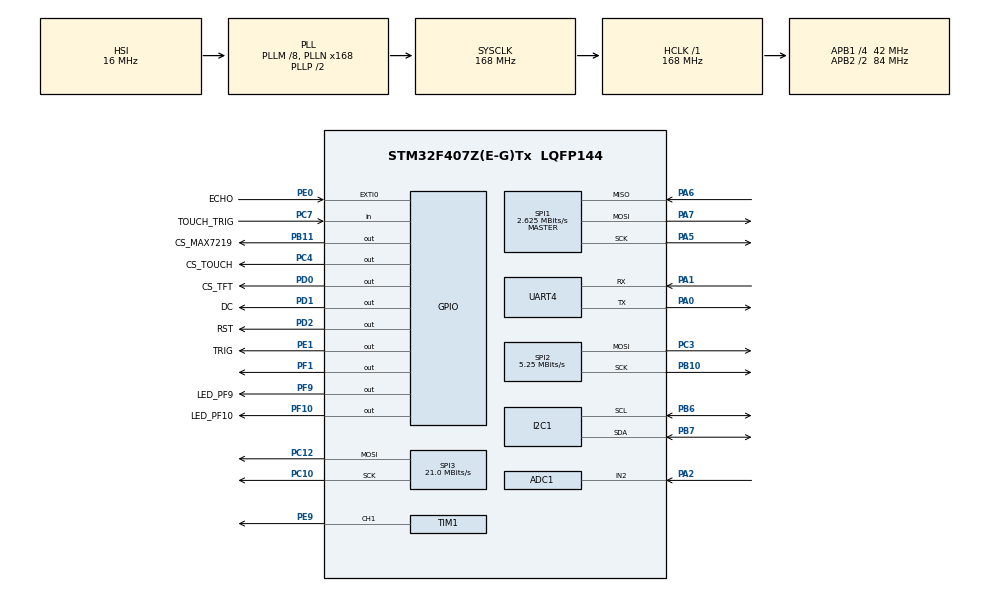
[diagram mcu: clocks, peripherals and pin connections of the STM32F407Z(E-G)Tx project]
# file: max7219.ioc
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ADC1.Channel-2\#ChannelRegularConversion=ADC_CHANNEL_2
ADC1.NbrOfConversionFlag=1
ADC1.Rank-2\#ChannelRegularConversion=1
ADC1.SamplingTime-2\#ChannelRegularConversion=ADC_SAMPLETIME_144CYCLES
ADC1.master=1
Dma.Request0=SPI3_TX
Dma.Request1=TIM1_CH1
Dma.SPI3_TX.0.Direction=DMA_MEMORY_TO_PERIPH
Dma.SPI3_TX.0.FIFOMode=DMA_FIFOMODE_DISABLE
Dma.SPI3_TX.0.Instance=DMA1_Stream5
Dma.SPI3_TX.0.MemDataAlignment=DMA_MDATAALIGN_BYTE
Dma.SPI3_TX.0.MemInc=DMA_MINC_ENABLE
Dma.SPI3_TX.0.Mode=DMA_CIRCULAR
Dma.SPI3_TX.0.PeriphDataAlignment=DMA_PDATAALIGN_BYTE
Dma.SPI3_TX.0.PeriphInc=DMA_PINC_DISABLE
Dma.SPI3_TX.0.Priority=DMA_PRIORITY_LOW
Dma.TIM1_CH1.1.Direction=DMA_MEMORY_TO_PERIPH
Dma.TIM1_CH1.1.FIFOMode=DMA_FIFOMODE_DISABLE
Dma.TIM1_CH1.1.Instance=DMA2_Stream1
Dma.TIM1_CH1.1.MemDataAlignment=DMA_MDATAALIGN_HALFWORD
Dma.TIM1_CH1.1.MemInc=DMA_MINC_ENABLE
Dma.TIM1_CH1.1.Mode=DMA_NORMAL
Dma.TIM1_CH1.1.PeriphDataAlignment=DMA_PDATAALIGN_HALFWORD
Dma.TIM1_CH1.1.PeriphInc=DMA_PINC_DISABLE
Dma.TIM1_CH1.1.Priority=DMA_PRIORITY_HIGH
Mcu.Family=STM32F4
Mcu.Name=STM32F407Z(E-G)Tx
Mcu.Package=LQFP144
NVIC.ADC_IRQn=true\:0\:0\:false\:false\:true\:true\:true
NVIC.DMA1_Stream5_IRQn=true\:0\:0\:false\:false\:true\:false\:true
NVIC.DMA2_Stream1_IRQn=true\:0\:0\:false\:false\:true\:false\:true
NVIC.EXTI0_IRQn=true\:0\:0\:false\:false\:true\:true\:true
NVIC.I2C1_ER_IRQn=true\:0\:0\:false\:false\:true\:true\:true
NVIC.I2C1_EV_IRQn=true\:0\:0\:false\:false\:true\:true\:true
NVIC.PriorityGroup=NVIC_PRIORITYGROUP_4
NVIC.UART4_IRQn=true\:0\:0\:false\:false\:true\:true\:true
PA0-WKUP.Mode=Asynchronous
PA0-WKUP.Signal=UART4_TX
PA1.Mode=Asynchronous
PA1.Signal=UART4_RX
PA13.Mode=Serial_Wire
PA13.Signal=SYS_JTMS-SWDIO
PA14.Mode=Serial_Wire
PA14.Signal=SYS_JTCK-SWCLK
PA2.Signal=ADCx_IN2
PA5.Mode=Full_Duplex_Master
PA5.Signal=SPI1_SCK
PA6.Mode=Full_Duplex_Master
PA6.Signal=SPI1_MISO
PA7.Mode=Full_Duplex_Master
PA7.Signal=SPI1_MOSI
PB10.GPIO_PuPd=GPIO_PULLDOWN
PB10.Mode=TX_Only_Simplex_Unidirect_Master
PB10.Signal=SPI2_SCK
PB11.GPIO_Label=CS_MAX7219
PB11.GPIO_PuPd=GPIO_PULLUP
PB11.GPIO_Speed=GPIO_SPEED_FREQ_VERY_HIGH
PB11.PinState=GPIO_PIN_SET
PB11.Signal=GPIO_Output
PB6.GPIO_Pu=GPIO_PULLUP
PB6.Mode=I2C
PB6.Signal=I2C1_SCL
PB7.GPIO_Pu=GPIO_PULLUP
PB7.Mode=I2C
PB7.Signal=I2C1_SDA
PC10.Mode=TX_Only_Simplex_Unidirect_Master
PC10.Signal=SPI3_SCK
PC12.Mode=TX_Only_Simplex_Unidirect_Master
PC12.Signal=SPI3_MOSI
PC3.Mode=TX_Only_Simplex_Unidirect_Master
PC3.Signal=SPI2_MOSI
PC4.GPIO_Label=CS_TOUCH
PC4.GPIO_PuPd=GPIO_PULLUP
PC4.GPIO_Speed=GPIO_SPEED_FREQ_VERY_HIGH
PC4.PinState=GPIO_PIN_SET
PC4.Signal=GPIO_Output
PC7.GPIO_Label=TOUCH_TRIG
PC7.GPIO_PuPd=GPIO_PULLUP
PC7.Signal=GPIO_Input
PD0.GPIO_Label=CS_TFT
PD0.GPIO_PuPd=GPIO_PULLUP
PD0.GPIO_Speed=GPIO_SPEED_FREQ_VERY_HIGH
PD0.PinState=GPIO_PIN_SET
PD0.Signal=GPIO_Output
PD1.GPIO_Label=DC
PD1.GPIO_PuPd=GPIO_PULLUP
PD1.GPIO_Speed=GPIO_SPEED_FREQ_VERY_HIGH
PD1.PinState=GPIO_PIN_SET
PD1.Signal=GPIO_Output
PD2.GPIO_Label=RST
PD2.GPIO_PuPd=GPIO_PULLUP
PD2.GPIO_Speed=GPIO_SPEED_FREQ_VERY_HIGH
PD2.PinState=GPIO_PIN_SET
PD2.Signal=GPIO_Output
PE0.GPIO_Label=ECHO
PE0.GPIO_ModeDefaultEXTI=GPIO_MODE_IT_RISING_FALLING
PE0.Signal=GPXTI0
PE1.GPIO_Label=TRIG
PE1.GPIO_Speed=GPIO_SPEED_FREQ_VERY_HIGH
PE1.Signal=GPIO_Output
PE9.GPIO_Speed=GPIO_SPEED_FREQ_VERY_HIGH
PE9.Signal=S_TIM1_CH1
PF1.Signal=GPIO_Output
PF10.GPIO_Label=LED_PF10
PF10.GPIO_Speed=GPIO_SPEED_FREQ_HIGH
PF10.PinState=GPIO_PIN_SET
PF10.Signal=GPIO_Output
PF9.GPIO_Label=LED_PF9
PF9.GPIO_Speed=GPIO_SPEED_FREQ_HIGH
PF9.PinState=GPIO_PIN_SET
PF9.Signal=GPIO_Output
PH0-OSC_IN.Mode=HSE-External-Oscillator
PH0-OSC_IN.Signal=RCC_OSC_IN
PH1-OSC_OUT.Mode=HSE-External-Oscillator
PH1-OSC_OUT.Signal=RCC_OSC_OUT
ProjectManager.HeapSize=0x200
ProjectManager.StackSize=0x400
ProjectManager.TargetToolchain=STM32CubeIDE
RCC.48MHZClocksFreq_Value=84000000
RCC.AHBFreq_Value=168000000
RCC.APB1CLKDivider=RCC_HCLK_DIV4
RCC.APB1Freq_Value=42000000
RCC.APB1TimFreq_Value=84000000
RCC.APB2CLKDivider=RCC_HCLK_DIV2
RCC.APB2Freq_Value=84000000
RCC.APB2TimFreq_Value=168000000
RCC.CortexFreq_Value=168000000
RCC.HCLKFreq_Value=168000000
RCC.HSE_VALUE=25000000
RCC.HSI_VALUE=16000000
RCC.LSE_VALUE=32768
RCC.PLLM=8
RCC.PLLN=168
RCC.SYSCLKFreq_VALUE=168000000
RCC.SYSCLKSource=RCC_SYSCLKSOURCE_PLLCLK
RCC.VCOOutputFreq_Value=336000000
SH.ADCx_IN2.0=ADC1_IN2,IN2
SH.S_TIM1_CH1.0=TIM1_CH1,PWM Generation1 CH1
SPI1.BaudRatePrescaler=SPI_BAUDRATEPRESCALER_32
SPI1.CalculateBaudRate=2.625 MBits/s
SPI1.Direction=SPI_DIRECTION_2LINES
SPI1.Mode=SPI_MODE_MASTER
SPI1.VirtualType=VM_MASTER
SPI2.BaudRatePrescaler=SPI_BAUDRATEPRESCALER_8
SPI2.CLKPhase=SPI_PHASE_1EDGE
SPI2.CLKPolarity=SPI_POLARITY_LOW
SPI2.CalculateBaudRate=5.25 MBits/s
SPI2.Direction=SPI_DIRECTION_2LINES
SPI2.Mode=SPI_MODE_MASTER
SPI2.VirtualType=VM_MASTER
SPI3.BaudRatePrescaler=SPI_BAUDRATEPRESCALER_2
SPI3.CalculateBaudRate=21.0 MBits/s
SPI3.Direction=SPI_DIRECTION_2LINES
SPI3.Mode=SPI_MODE_MASTER
SPI3.VirtualType=VM_MASTER
TIM1.AutoReloadPreload=TIM_AUTORELOAD_PRELOAD_ENABLE
TIM1.Channel-PWM\ Generation1\ CH1=TIM_CHANNEL_1
TIM1.OCFastMode_PWM-PWM\ Generation1\ CH1=TIM_OCFAST_ENABLE
TIM1.Period=213
TIM7.Prescaler=84
UART4.VirtualMode=Asynchronous
VP_TIM7_VS_ClockSourceINT.Mode=Enable_Timer
board=custom

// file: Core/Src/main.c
/* USER CODE BEGIN Header */
/**
  ******************************************************************************
  * @file           : main.c
  * @brief          : Main program body
  ******************************************************************************
  * @attention
  *
  * <h2><center>&copy; Copyright (c) 2022 STMicroelectronics.
  * All rights reserved.</center></h2>
  *
  * This software component is licensed by ST under BSD 3-Clause license,
  * the "License"; You may not use this file except in compliance with the
  * License. You may obtain a copy of the License at:
  *                        opensource.org/licenses/BSD-3-Clause
  *
  ******************************************************************************
  */
/* USER CODE END Header */
#include "main.h"
#include "adc.h"
#include "dma.h"
#include "i2c.h"
#include "spi.h"
#include "tim.h"
#include "usart.h"
#include "gpio.h"

void SystemClock_Config(void);

int main(void)
{

  /* MCU Configuration--------------------------------------------------------*/

  /* Reset of all peripherals, Initializes the Flash interface and the Systick. */
  HAL_Init();

  /* Configure the system clock */
  SystemClock_Config();

  /* Initialize all configured peripherals */
  MX_GPIO_Init();
  MX_DMA_Init();
  MX_SPI3_Init();
  MX_I2C1_Init();
  MX_ADC1_Init();
  MX_TIM7_Init();
  MX_TIM1_Init();
  MX_UART4_Init();
  MX_SPI1_Init();
  MX_SPI2_Init();
  /* USER CODE BEGIN 2 */
  HAL_GPIO_WritePin(GPIOF, LED_PF9_Pin, GPIO_PIN_RESET);
    InitGTimers();
    InitMessages();
    DWT_Init();
    __HAL_SPI_ENABLE(&hspi3);
    __HAL_SPI_ENABLE(&hspi1);
    __HAL_SPI_ENABLE(&hspi2);
    CB(CS_TOUCH_GPIO_Port,CS_TOUCH_Pin);
    InitXPT2046();

    _delay_ms(10);
    InitILI9341();
    _delay_ms(5);
    TFTFillScreen(FONE);

    FirstScreen();
  	Process2D();

    Init_4_MAX7219();
    Test_MAX7219();
    Clean_All();
    SetVirtualArray("Come with me, baby :)       ");
  /* USER CODE END 2 */

  /* Infinite loop */
  /* USER CODE BEGIN WHILE */
  while (1)  {
//ws2812s
  	  StartGTimer(timer_process_ws2811s,TIME_LEDLINE);
  	  if(ExpGTimer(timer_process_ws2811s)) {
  		RUN_LedLine();
  	  }

volatile static u08 time_color=40;
volatile static u08 func_color=0;
  	  StartGTimer(timer_smooth_change_color,time_color);
  	  if(ExpGTimer(timer_smooth_change_color)){
  		  switch(func_color){
  		  	  case 0:
  		  		  ColorSnake();
  		  		  break;
  		  	  case 1:
  		  		  RunningColor2();
  		  		  break;
  		  }
  	  }
volatile static u08 step_fc=1;
  	  StartGTimer(timer_change_func_color,5000);
  	  if(ExpGTimer(timer_change_func_color)){
		  switch(step_fc){
			  case 0:
				  time_color=40;
				  step_fc=1;
				  func_color=0;
				  break;
			  case 1:
				  time_color=2;
				  step_fc=0;
				  func_color=1;
				  break;
		  }
  	  }

//leds
	  StartGTimer(timer_led,1000);
	  if(ExpGTimer(timer_led)) {
		  IB(GPIOF,LED_PF9_Pin);
		  IB(GPIOF,LED_PF10_Pin);
	  }//i

	  StartGTimer(timer_uart,500);
	  if(ExpGTimer(timer_uart)) {
		  SendLogUART();
		  TFTDrawUT32(48,2,GREEN,FONE,AdcResult_get_data_mv(),4,3);
	  }//if

	//--------------------------------------------------

	  StartGTimer(timer_start_adc,2);
	  if(ExpGTimer(timer_start_adc)) {
		  HAL_ADC_Start_IT(&hadc1);
	  }

	  StartGTimer(timer_start_i2c,2000);
	  if(ExpGTimer(timer_start_i2c)){
		  ShedulerI2C(BMP180);
		  ShedulerI2C(Si7021);
	  }
	//--------------------------------------------------
	Test_Modes_Max7219();
	//--------------------------------------------------
	ProcessXPT2046();
	//--------------------------------------------------
	ProcessShedulerI2c();
	//--------------------------------------------------
	ProcessShedulerUart(&huart4);
	//--------------------------------------------------
	ProcessMessages();
	//--------------------------------------------------

    /* USER CODE END WHILE */

  }
}

void SystemClock_Config(void)
{
  RCC_OscInitTypeDef RCC_OscInitStruct = {0};
  RCC_ClkInitTypeDef RCC_ClkInitStruct = {0};

  /** Configure the main internal regulator output voltage
  */
  __HAL_RCC_PWR_CLK_ENABLE();
  __HAL_PWR_VOLTAGESCALING_CONFIG(PWR_REGULATOR_VOLTAGE_SCALE1);
  /** Initializes the RCC Oscillators according to the specified parameters
  * in the RCC_OscInitTypeDef structure.
  */
  RCC_OscInitStruct.OscillatorType = RCC_OSCILLATORTYPE_HSI;
  RCC_OscInitStruct.HSIState = RCC_HSI_ON;
  RCC_OscInitStruct.HSICalibrationValue = RCC_HSICALIBRATION_DEFAULT;
  RCC_OscInitStruct.PLL.PLLState = RCC_PLL_ON;
  RCC_OscInitStruct.PLL.PLLSource = RCC_PLLSOURCE_HSI;
  RCC_OscInitStruct.PLL.PLLM = 8;
  RCC_OscInitStruct.PLL.PLLN = 168;
  RCC_OscInitStruct.PLL.PLLP = RCC_PLLP_DIV2;
  RCC_OscInitStruct.PLL.PLLQ = 4;
  if (HAL_RCC_OscConfig(&RCC_OscInitStruct) != HAL_OK)
  {
    Error_Handler();
  }
  /** Initializes the CPU, AHB and APB buses clocks
  */
  RCC_ClkInitStruct.ClockType = RCC_CLOCKTYPE_HCLK|RCC_CLOCKTYPE_SYSCLK
                              |RCC_CLOCKTYPE_PCLK1|RCC_CLOCKTYPE_PCLK2;
  RCC_ClkInitStruct.SYSCLKSource = RCC_SYSCLKSOURCE_PLLCLK;
  RCC_ClkInitStruct.AHBCLKDivider = RCC_SYSCLK_DIV1;
  RCC_ClkInitStruct.APB1CLKDivider = RCC_HCLK_DIV4;
  RCC_ClkInitStruct.APB2CLKDivider = RCC_HCLK_DIV2;

  if (HAL_RCC_ClockConfig(&RCC_ClkInitStruct, FLASH_LATENCY_5) != HAL_OK)
  {
    Error_Handler();
  }
}

void Error_Handler(void)
{
  __disable_irq();
  while (1)
  {
  }
}

/************************ (C) COPYRIGHT STMicroelectronics *****END OF FILE****/
